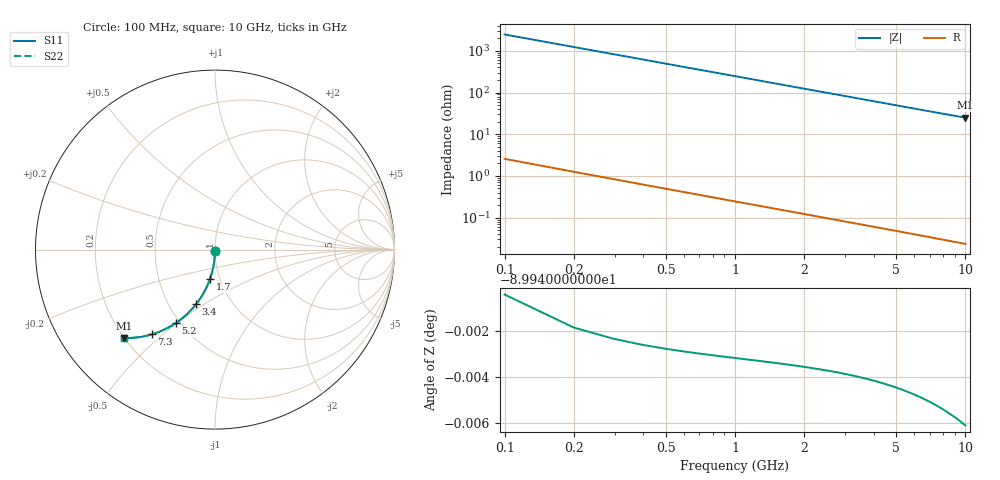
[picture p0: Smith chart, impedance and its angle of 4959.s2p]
# Hz S RI R 50.00
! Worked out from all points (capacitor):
!   100 points, 100 MHz to 10 GHz, reference 50 ohm
!   read as one part in shunt: C = 644 fF near 100 MHz
!   lowest |Z| = 24.9 ohm at 10 GHz (marker M1)
!   S11 on the Smith chart (normalised r, x): 100 MHz: 1.00, -0.02; 1.7 GHz: 0.89, -0.31; 3.4 GHz: 0.68, -0.46; 5.2 GHz: 0.48, -0.50; 7.3 GHz: 0.32, -0.46; 10 GHz: 0.20, -0.39
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1e8  -5.51e-05 -0.01  0.9998 -0.0102  0.9998 -0.0102  -5.51e-05 -0.01
2e8  -0.000371 -0.0201  0.9995 -0.0204  0.9995 -0.0204  -0.000371 -0.0201
3e8  -0.000892 -0.0301  0.999 -0.0305  0.999 -0.0305  -0.000892 -0.0301
4e8  -0.00162 -0.0401  0.9983 -0.0407  0.9983 -0.0407  -0.00162 -0.0401
5e8  -0.00254 -0.0501  0.9973 -0.0508  0.9973 -0.0508  -0.00254 -0.0501
6e8  -0.00367 -0.06  0.9962 -0.0609  0.9962 -0.0609  -0.00367 -0.06
8e8  -0.00653 -0.0798  0.9934 -0.0809  0.9934 -0.0809  -0.00653 -0.0798
1.1e9  -0.0123 -0.1091  0.9876 -0.1107  0.9876 -0.1107  -0.0123 -0.1091
1.4e9  -0.0197 -0.1378  0.9801 -0.1398  0.9801 -0.1398  -0.0197 -0.1378
1.7e9  -0.0288 -0.1658  0.9711 -0.1682  0.9711 -0.1682  -0.0288 -0.1658
1.8e9  -0.0322 -0.1749  0.9677 -0.1774  0.9677 -0.1774  -0.0322 -0.1749
2.1e9  -0.0433 -0.2017  0.9566 -0.2046  0.9566 -0.2046  -0.0433 -0.2017
2.5e9  -0.0603 -0.2358  0.9396 -0.2393  0.9396 -0.2393  -0.0603 -0.2358
2.9e9  -0.0794 -0.2679  0.9205 -0.272  0.9205 -0.272  -0.0794 -0.2679
3.4e9  -0.106 -0.305  0.8939 -0.3097  0.8939 -0.3097  -0.106 -0.305
4.2e9  -0.1531 -0.3567  0.8468 -0.3626  0.8468 -0.3626  -0.1531 -0.3567
5.1e9  -0.2104 -0.4036  0.7894 -0.4107  0.7894 -0.4107  -0.2104 -0.4036
5.2e9  -0.2169 -0.4081  0.7829 -0.4153  0.7829 -0.4153  -0.2169 -0.4081
6.7e9  -0.315 -0.4594  0.6848 -0.4687  0.6848 -0.4687  -0.315 -0.4594
7.3e9  -0.3531 -0.4723  0.6467 -0.4826  0.6467 -0.4826  -0.3531 -0.4723
8.4e9  -0.4196 -0.4871  0.5802 -0.4989  0.5802 -0.4989  -0.4196 -0.4871
1e10  -0.5061 -0.4924  0.4936 -0.5065  0.4936 -0.5065  -0.5061 -0.4924
